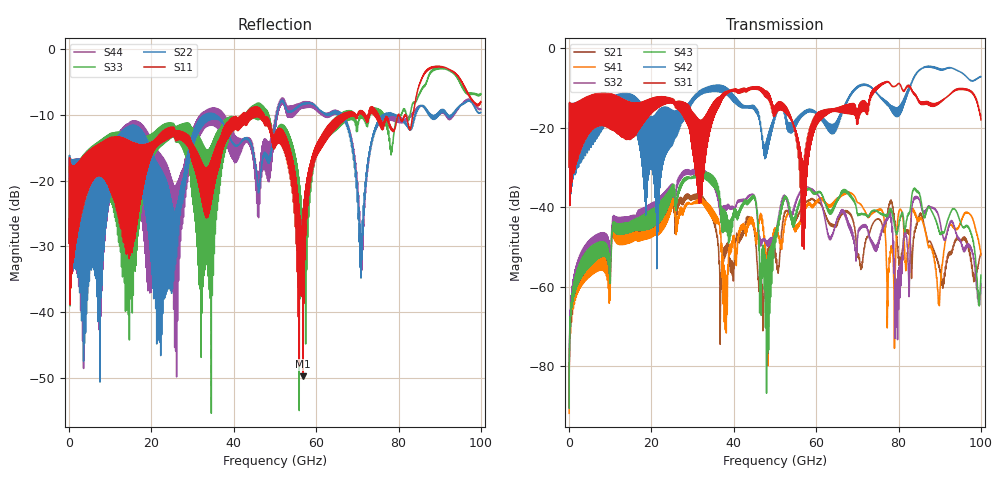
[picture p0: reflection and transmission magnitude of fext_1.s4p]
# Hz S RI R 50
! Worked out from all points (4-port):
!   10000 points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, 10 MHz to 100 GHz, reference 50 ohm
!   strongest paths, dB at 10 MHz, 25.01 GHz, 50.01 GHz, 75.01 GHz, 100 GHz:
!     S31: -29.9, -12.7, -14.7, -9.8, -18.1
!     S42: -29.9, -15.8, -16.8, -11.6, -7.2
!     S43: -90.6, -37.2, -46.7, -41.3, -57.1
!     S32: -88.9, -36.5, -46.6, -50.1, -59.4
!     S41: -91.9, -40.0, -45.6, -40.8, -52.1
!     S21: -89.9, -40.1, -52.2, -43.0, -51.8
!   lowest |S11| = -49.8 dB at 56.76 GHz (marker M1), VSWR 1.01, Z = 50 + j0.325 ohm
!   |S11| at or under -10 dB: start of sweep to 42.03 GHz; 47.29 GHz to 66.07 GHz (18.77 GHz wide, 33.1 % of centre); 75.05 GHz to 79.99 GHz (4.936 GHz wide, 6.37 % of centre)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
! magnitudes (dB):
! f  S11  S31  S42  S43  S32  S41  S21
! 10 MHz  -29.5  -29.9  -29.9  -90.6  -88.9  -91.9  -89.9
! 28 GHz  -14.2  -16.0  -17.9  -32.7  -30.8  -39.8  -37.3
! 37.93 GHz  -13.6  -11.8  -10.3  -41.2  -40.1  -69.5  -51.3
! 46.96 GHz  -10.5  -10.9  -22.2  -54.4  -48.1  -43.1  -61.6
! 56.76 GHz  -49.8  -29.1  -17.0  -37.1  -35.5  -42.1  -39.9
! 70.89 GHz  -9.9  -13.6  -9.5  -41.8  -44.9  -39.4  -55.2
! 100 GHz  -8.1  -18.1  -7.2  -57.1  -59.4  -52.1  -51.8
